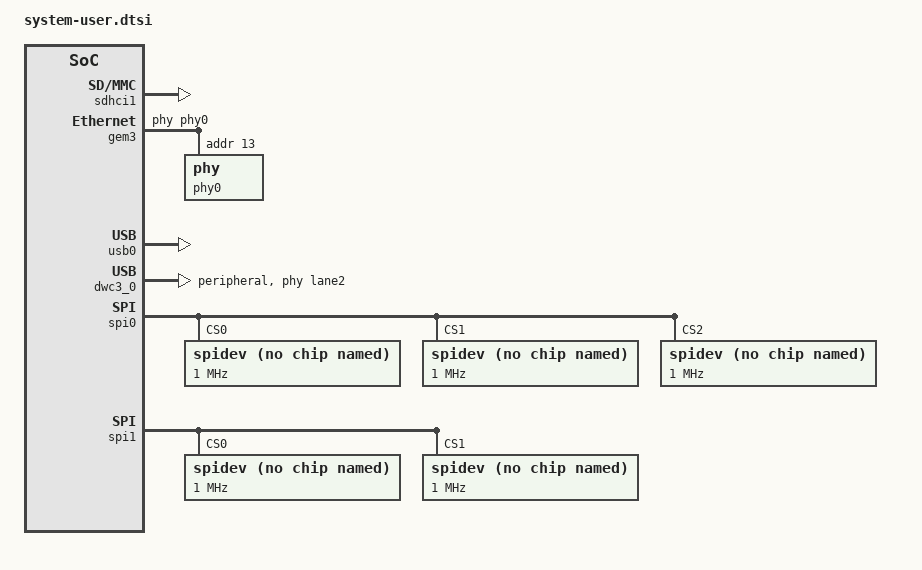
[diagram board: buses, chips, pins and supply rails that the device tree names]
/include/ "system-conf.dtsi"
/ {

    dma_proxy {
	compatible = "xlnx,dma_proxy";
	dmas = <&axi_dma_0 0>;
	dma-names = "dma_proxy_rx";
    };

/*
    axidmatest_1: axidmatest@1 {
	    compatible = "xlnx,axi-dma-test-1.00.a";
	    dmas = <&axi_dma 0
	        &axi_dma 1>;
	    dma-names = "axidma0", "axidma1";
    };
*/
};


&sdhci1 {
	status = "okay";
	xlnx,has-power = <0x0>;
	no-1-8-v;
	disable-wp;
};

/* ETH PHY */
 
&gem3 {
    phy-handle = <&phy0>;
    phy0: phy@c {
	reg = <0xd>;
	device_type= "ethernet-phy";
	ti,rx-internal-delay = <0x8>;
	ti,tx-internal-delay = <0xa>;
	ti,fifo-depth = <0x1>;
	ti,rxctrl-strap-worka;
    };
};

&usb0 {
	status = "okay";
	xlnx,usb-polarity = <0x0>;
	xlnx,usb-reset-io = <0x4c>;
	xlnx,usb-reset-mode = <0x2>;
};


&dwc3_0{
    dr_mode = "peripheral";
    status = "okay";
   
    snps,dis_u2_susphy_quirk;
    snps,dis_u3_susphy_quirk;
    maximum-speed = "super-speed";

    phy-names = "usb3-phy";
    phys = <&lane2 0x4 0x0 0x0 26000000>;
};

&spi0 {
  is-decoded-cs = <0>;
  num-cs = <3>;
  status = "okay";
  spidev@0x00 {
    compatible = "spidev";
    spi-max-frequency = <1000000>;
    reg = <0>;
  };
  spidev@0x01 {
    compatible = "spidev";
    spi-max-frequency = <1000000>;
    reg = <1>;
  };
  spidev@0x02 {
    compatible = "spidev";
    spi-max-frequency = <1000000>;
    reg = <2>;
  };
};

&spi1 {
  is-decoded-cs = <0>;
  num-cs = <2>;
  status = "okay";
  spidev@0x00 {
    compatible = "spidev";
    spi-max-frequency = <1000000>;
    reg = <0>;
  };
  spidev@0x01 {
    compatible = "spidev";
    spi-max-frequency = <1000000>;
    reg = <1>;
  };
};


/*
&amba_pl {
    /delete-node/ dma@a0000000; //8
    dma_rx: dma_rx@a0000000 {
        compatible = "generic-uio";
        reg = <0x0 0xa0000000 0x0 0x1000>;
        interrupt-names = "s2mm_introut";
        interrupt-parent = <&gic>;
        interrupts = <0 89 4>;
    };
};

/{
    udmabuf@0 {
        device-name = "udmabuf0";
        compatible = "ikwzm,udmabuf-0.10.a";
        size = <0x10000000>;
        dma-coherent;
    };
};
*/
